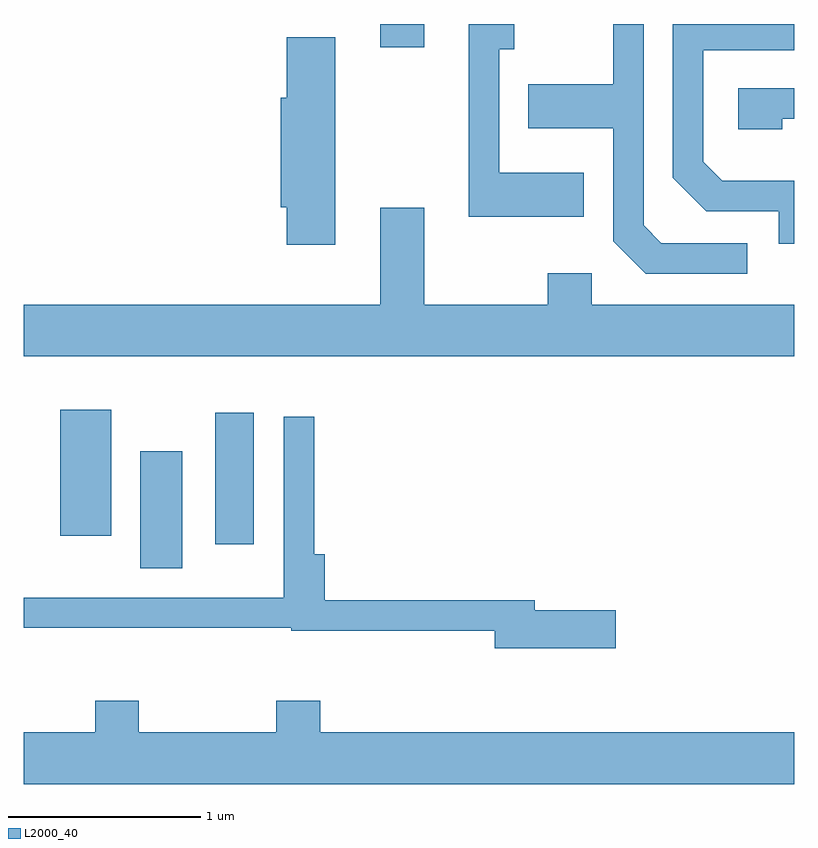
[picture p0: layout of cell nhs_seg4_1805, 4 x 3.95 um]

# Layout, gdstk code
import gdstk
lib = gdstk.Library(unit=1e-6, precision=1e-09)
def R(c, l, rs):  # rectangles x0, y0, x1, y1
    for r in rs: c.add(gdstk.rectangle(r[:2], r[2:], *l))
def P(c, l, *ps):  # polygons
    for p in ps: c.add(gdstk.Polygon(p, *l))
L2000_40 = (2000, 40)

nhs_seg4_1805 = lib.new_cell('nhs_seg4_1805')
R(nhs_seg4_1805, L2000_40, [(238.216,1329.156,238.434,1329.764), (238.606,1329.281,238.804,1329.964), (237.801,1329.326,238.064,1329.979), (239.461,1331.861,239.689,1331.982)])
P(nhs_seg4_1805, L2000_40, [(241.368,1330.844),(240.922,1330.844),(240.829,1330.937),(240.829,1331.982),(240.671,1331.982),(240.671,1331.669),(240.231,1331.669),(240.231,1331.441),(240.671,1331.441),(240.671,1330.854),(240.839,1330.686),(241.368,1330.686)],
  [(240.519,1331.209),(240.079,1331.209),(240.079,1331.851),(240.158,1331.851),(240.158,1331.982),(239.921,1331.982),(239.921,1330.981),(240.519,1330.981)],
  [(241.611,1331.169),(241.237,1331.169),(241.139,1331.267),(241.139,1331.846),(241.611,1331.846),(241.611,1331.982),(240.981,1331.982),(240.981,1331.184),(241.154,1331.011),(241.531,1331.011),(241.531,1330.841),(241.611,1330.841)],
  [(239.229,1331.914),(238.976,1331.914),(238.976,1331.599),(238.946,1331.599),(238.946,1331.031),(238.976,1331.031),(238.976,1330.836),(239.229,1330.836)],
  [(241.549,1331.491),(241.611,1331.491),(241.611,1331.649),(241.321,1331.649),(241.321,1331.436),(241.549,1331.436)],
  [(241.611,1330.524),(240.559,1330.524),(240.559,1330.689),(240.331,1330.689),(240.331,1330.524),(239.689,1330.524),(239.689,1331.029),(239.461,1331.029),(239.461,1330.524),(237.611,1330.524),(237.611,1330.256),(241.611,1330.256)],
  [(240.684,1328.939),(240.264,1328.939),(240.264,1328.989),(239.174,1328.989),(239.174,1329.229),(239.119,1329.229),(239.119,1329.943),(238.961,1329.943),(238.961,1329.004),(237.611,1329.004),(237.611,1328.846),(239,1328.846),(239,1328.831),(240.056,1328.831),(240.056,1328.741),(240.684,1328.741)],
  [(241.611,1328.304),(239.149,1328.304),(239.149,1328.469),(238.921,1328.469),(238.921,1328.304),(238.209,1328.304),(238.209,1328.469),(237.981,1328.469),(237.981,1328.304),(237.611,1328.304),(237.611,1328.036),(241.611,1328.036)])

lib.write_gds('nhs_seg4_1805.gds')
